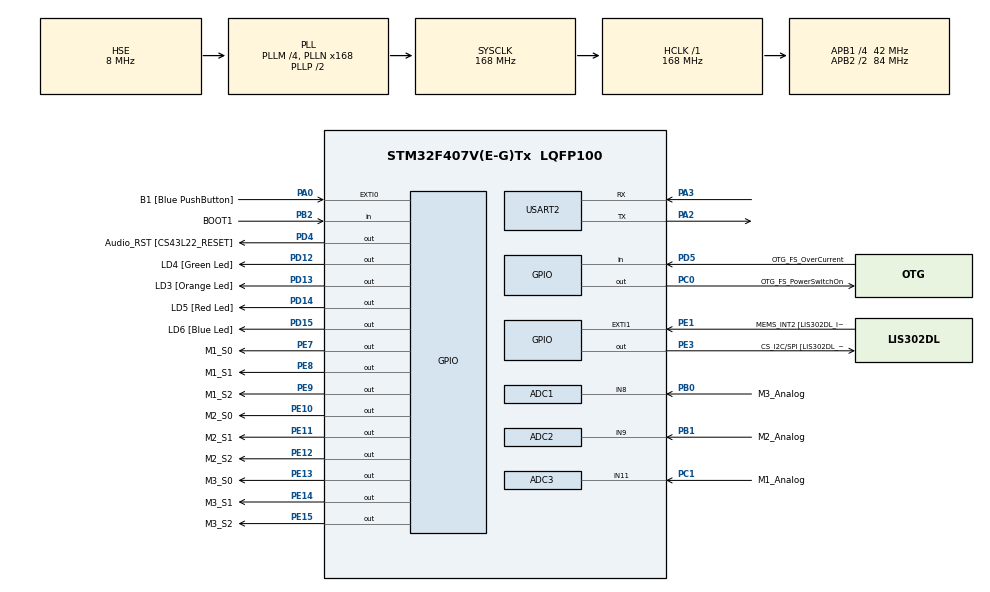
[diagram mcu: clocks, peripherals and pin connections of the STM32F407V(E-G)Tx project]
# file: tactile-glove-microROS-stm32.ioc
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ADC1.Channel-0\#ChannelRegularConversion=ADC_CHANNEL_8
ADC1.NbrOfConversionFlag=1
ADC1.Rank-0\#ChannelRegularConversion=1
ADC1.SamplingTime-0\#ChannelRegularConversion=ADC_SAMPLETIME_3CYCLES
ADC1.master=1
ADC2.Channel-0\#ChannelRegularConversion=ADC_CHANNEL_9
ADC2.NbrOfConversionFlag=1
ADC2.Rank-0\#ChannelRegularConversion=1
ADC2.SamplingTime-0\#ChannelRegularConversion=ADC_SAMPLETIME_3CYCLES
ADC3.Channel-0\#ChannelRegularConversion=ADC_CHANNEL_11
ADC3.NbrOfConversionFlag=1
ADC3.Rank-0\#ChannelRegularConversion=1
ADC3.SamplingTime-0\#ChannelRegularConversion=ADC_SAMPLETIME_3CYCLES
Dma.Request0=USART2_RX
Dma.Request1=USART2_TX
Dma.USART2_RX.0.Direction=DMA_PERIPH_TO_MEMORY
Dma.USART2_RX.0.FIFOMode=DMA_FIFOMODE_DISABLE
Dma.USART2_RX.0.Instance=DMA1_Stream5
Dma.USART2_RX.0.MemDataAlignment=DMA_MDATAALIGN_BYTE
Dma.USART2_RX.0.MemInc=DMA_MINC_ENABLE
Dma.USART2_RX.0.Mode=DMA_CIRCULAR
Dma.USART2_RX.0.PeriphDataAlignment=DMA_PDATAALIGN_BYTE
Dma.USART2_RX.0.PeriphInc=DMA_PINC_DISABLE
Dma.USART2_RX.0.Priority=DMA_PRIORITY_VERY_HIGH
Dma.USART2_TX.1.Direction=DMA_MEMORY_TO_PERIPH
Dma.USART2_TX.1.FIFOMode=DMA_FIFOMODE_DISABLE
Dma.USART2_TX.1.Instance=DMA1_Stream6
Dma.USART2_TX.1.MemDataAlignment=DMA_MDATAALIGN_BYTE
Dma.USART2_TX.1.MemInc=DMA_MINC_ENABLE
Dma.USART2_TX.1.Mode=DMA_NORMAL
Dma.USART2_TX.1.PeriphDataAlignment=DMA_PDATAALIGN_BYTE
Dma.USART2_TX.1.PeriphInc=DMA_PINC_DISABLE
Dma.USART2_TX.1.Priority=DMA_PRIORITY_VERY_HIGH
FREERTOS.Tasks01=defaultTask,24,3500,StartDefaultTask,Default,NULL,Dynamic,NULL,NULL
Mcu.Family=STM32F4
Mcu.Name=STM32F407V(E-G)Tx
Mcu.Package=LQFP100
NVIC.DMA1_Stream5_IRQn=true\:5\:0\:false\:false\:true\:true\:false\:true\:true
NVIC.DMA1_Stream6_IRQn=true\:5\:0\:false\:false\:true\:true\:false\:true\:true
NVIC.PriorityGroup=NVIC_PRIORITYGROUP_4
NVIC.TIM1_UP_TIM10_IRQn=true\:15\:0\:false\:false\:true\:false\:false\:true\:true
NVIC.TimeBase=TIM1_UP_TIM10_IRQn
NVIC.TimeBaseIP=TIM1
NVIC.USART2_IRQn=true\:5\:0\:false\:false\:true\:true\:true\:true\:true
PA0-WKUP.GPIO_Label=B1 [Blue PushButton]
PA0-WKUP.Signal=GPXTI0
PA10.GPIO_Label=OTG_FS_ID
PA10.GPIO_Mode=GPIO_MODE_AF_PP
PA10.GPIO_PuPd=GPIO_NOPULL
PA10.GPIO_Speed=GPIO_SPEED_FREQ_LOW
PA10.Signal=USB_OTG_FS_ID
PA11.GPIO_Label=OTG_FS_DM
PA11.GPIO_Mode=GPIO_MODE_AF_PP
PA11.GPIO_PuPd=GPIO_NOPULL
PA11.GPIO_Speed=GPIO_SPEED_FREQ_LOW
PA11.Signal=USB_OTG_FS_DM
PA12.GPIO_Label=OTG_FS_DP
PA12.GPIO_Mode=GPIO_MODE_AF_PP
PA12.GPIO_PuPd=GPIO_NOPULL
PA12.GPIO_Speed=GPIO_SPEED_FREQ_LOW
PA12.Signal=USB_OTG_FS_DP
PA13.GPIO_Label=SWDIO
PA13.Signal=SYS_JTMS-SWDIO
PA14.GPIO_Label=SWCLK
PA14.Signal=SYS_JTCK-SWCLK
PA2.Mode=Asynchronous
PA2.Signal=USART2_TX
PA3.Mode=Asynchronous
PA3.Signal=USART2_RX
PA4.GPIO_Label=I2S3_WS [CS43L22_LRCK]
PA4.GPIO_Mode=GPIO_MODE_AF_PP
PA4.GPIO_PuPd=GPIO_NOPULL
PA4.GPIO_Speed=GPIO_SPEED_FREQ_LOW
PA4.Signal=I2S3_WS
PA5.GPIO_Label=SPI1_SCK [LIS302DL_SCL/SPC]
PA5.GPIO_Mode=GPIO_MODE_AF_PP
PA5.GPIO_PuPd=GPIO_NOPULL
PA5.GPIO_Speed=GPIO_SPEED_FREQ_LOW
PA5.Signal=SPI1_SCK
PA6.GPIO_Label=SPI1_MISO [LIS302DL_SDO]
PA6.GPIO_Mode=GPIO_MODE_AF_PP
PA6.GPIO_PuPd=GPIO_NOPULL
PA6.GPIO_Speed=GPIO_SPEED_FREQ_LOW
PA6.Signal=SPI1_MISO
PA7.GPIO_Label=SPI1_MOSI [LIS302DL_SDA/SDI/SDO]
PA7.GPIO_Mode=GPIO_MODE_AF_PP
PA7.GPIO_PuPd=GPIO_NOPULL
PA7.GPIO_Speed=GPIO_SPEED_FREQ_LOW
PA7.Signal=SPI1_MOSI
PA9.GPIO_Label=VBUS_FS
PA9.GPIO_Mode=GPIO_MODE_INPUT
PA9.GPIO_PuPd=GPIO_NOPULL
PA9.Signal=USB_OTG_FS_VBUS
PB0.GPIO_Label=M3_Analog
PB0.Signal=ADCx_IN8
PB1.GPIO_Label=M2_Analog
PB1.Signal=ADCx_IN9
PB10.GPIO_Label=CLK_IN [MP45DT02_CLK]
PB10.GPIO_Mode=GPIO_MODE_AF_PP
PB10.GPIO_PuPd=GPIO_NOPULL
PB10.GPIO_Speed=GPIO_SPEED_FREQ_LOW
PB10.Signal=I2S2_CK
PB2.GPIO_Label=BOOT1
PB2.GPIO_Mode=GPIO_MODE_INPUT
PB2.GPIO_PuPd=GPIO_NOPULL
PB2.Signal=GPIO_Input
PB3.GPIO_Label=SWO
PB3.Signal=SYS_JTDO-SWO
PB6.GPIO_Label=Audio_SCL [CS43L22_SCL]
PB6.GPIO_Mode=GPIO_MODE_AF_OD
PB6.GPIO_PuPd=GPIO_NOPULL
PB6.GPIO_Speed=GPIO_SPEED_FREQ_LOW
PB6.Signal=I2C1_SCL
PB9.GPIO_Label=Audio_SDA [CS43L22_SDA]
PB9.GPIO_Mode=GPIO_MODE_AF_OD
PB9.GPIO_PuPd=GPIO_NOPULL
PB9.GPIO_Speed=GPIO_SPEED_FREQ_LOW
PB9.Signal=I2C1_SDA
PC0.GPIO_Label=OTG_FS_PowerSwitchOn
PC0.GPIO_PuPd=GPIO_NOPULL
PC0.GPIO_Speed=GPIO_SPEED_FREQ_LOW
PC0.PinState=GPIO_PIN_SET
PC0.Signal=GPIO_Output
PC1.GPIO_Label=M1_Analog
PC1.Signal=ADCx_IN11
PC10.GPIO_Label=I2S3_SCK [CS43L22_SCLK]
PC10.GPIO_Mode=GPIO_MODE_AF_PP
PC10.GPIO_PuPd=GPIO_NOPULL
PC10.GPIO_Speed=GPIO_SPEED_FREQ_LOW
PC10.Signal=I2S3_CK
PC12.GPIO_Label=I2S3_SD [CS43L22_SDIN]
PC12.GPIO_Mode=GPIO_MODE_AF_PP
PC12.GPIO_PuPd=GPIO_NOPULL
PC12.GPIO_Speed=GPIO_SPEED_FREQ_LOW
PC12.Signal=I2S3_SD
PC14-OSC32_IN.GPIO_Label=PC14-OSC32_IN
PC14-OSC32_IN.Signal=RCC_OSC32_IN
PC15-OSC32_OUT.GPIO_Label=PC15-OSC32_OUT
PC15-OSC32_OUT.Signal=RCC_OSC32_OUT
PC3.GPIO_Label=PDM_OUT [MP45DT02_DOUT]
PC3.GPIO_Mode=GPIO_MODE_AF_PP
PC3.GPIO_PuPd=GPIO_NOPULL
PC3.GPIO_Speed=GPIO_SPEED_FREQ_LOW
PC3.Signal=I2S2_SD
PC7.GPIO_Label=I2S3_MCK [CS43L22_MCLK]
PC7.GPIO_Mode=GPIO_MODE_AF_PP
PC7.GPIO_PuPd=GPIO_NOPULL
PC7.GPIO_Speed=GPIO_SPEED_FREQ_LOW
PC7.Signal=I2S3_MCK
PD12.GPIO_Label=LD4 [Green Led]
PD12.GPIO_PuPd=GPIO_NOPULL
PD12.GPIO_Speed=GPIO_SPEED_FREQ_LOW
PD12.Signal=GPIO_Output
PD13.GPIO_Label=LD3 [Orange Led]
PD13.GPIO_PuPd=GPIO_NOPULL
PD13.GPIO_Speed=GPIO_SPEED_FREQ_LOW
PD13.Signal=GPIO_Output
PD14.GPIO_Label=LD5 [Red Led]
PD14.GPIO_PuPd=GPIO_NOPULL
PD14.GPIO_Speed=GPIO_SPEED_FREQ_LOW
PD14.Signal=GPIO_Output
PD15.GPIO_Label=LD6 [Blue Led]
PD15.GPIO_PuPd=GPIO_NOPULL
PD15.GPIO_Speed=GPIO_SPEED_FREQ_LOW
PD15.Signal=GPIO_Output
PD4.GPIO_Label=Audio_RST [CS43L22_RESET]
PD4.GPIO_PuPd=GPIO_NOPULL
PD4.GPIO_Speed=GPIO_SPEED_FREQ_LOW
PD4.Signal=GPIO_Output
PD5.GPIO_Label=OTG_FS_OverCurrent
PD5.GPIO_Mode=GPIO_MODE_INPUT
PD5.GPIO_PuPd=GPIO_NOPULL
PD5.Signal=GPIO_Input
PE1.GPIO_Label=MEMS_INT2 [LIS302DL_INT2]
PE1.GPIO_ModeDefaultEXTI=GPIO_MODE_EVT_RISING
PE1.GPIO_PuPd=GPIO_NOPULL
PE1.Signal=GPXTI1
PE10.GPIO_Label=M2_S0
PE10.Signal=GPIO_Output
PE11.GPIO_Label=M2_S1
PE11.Signal=GPIO_Output
PE12.GPIO_Label=M2_S2
PE12.Signal=GPIO_Output
PE13.GPIO_Label=M3_S0
PE13.Signal=GPIO_Output
PE14.GPIO_Label=M3_S1
PE14.Signal=GPIO_Output
PE15.GPIO_Label=M3_S2
PE15.Signal=GPIO_Output
PE3.GPIO_Label=CS_I2C/SPI [LIS302DL_CS_I2C/SPI]
PE3.GPIO_PuPd=GPIO_NOPULL
PE3.GPIO_Speed=GPIO_SPEED_FREQ_LOW
PE3.Signal=GPIO_Output
PE7.GPIO_Label=M1_S0
PE7.Signal=GPIO_Output
PE8.GPIO_Label=M1_S1
PE8.Signal=GPIO_Output
PE9.GPIO_Label=M1_S2
PE9.Signal=GPIO_Output
PH0-OSC_IN.GPIO_Label=PH0-OSC_IN
PH0-OSC_IN.Mode=HSE-External-Oscillator
PH0-OSC_IN.Signal=RCC_OSC_IN
PH1-OSC_OUT.GPIO_Label=PH1-OSC_OUT
PH1-OSC_OUT.Mode=HSE-External-Oscillator
PH1-OSC_OUT.Signal=RCC_OSC_OUT
ProjectManager.HeapSize=0x200
ProjectManager.StackSize=0x400
ProjectManager.TargetToolchain=Makefile
RCC.48MHZClocksFreq_Value=48000000
RCC.AHBFreq_Value=168000000
RCC.APB1CLKDivider=RCC_HCLK_DIV4
RCC.APB1Freq_Value=42000000
RCC.APB1TimFreq_Value=84000000
RCC.APB2CLKDivider=RCC_HCLK_DIV2
RCC.APB2Freq_Value=84000000
RCC.APB2TimFreq_Value=168000000
RCC.CortexFreq_Value=168000000
RCC.HCLKFreq_Value=168000000
RCC.HSE_VALUE=8000000
RCC.HSI_VALUE=16000000
RCC.LSE_VALUE=32768
RCC.PLLM=4
RCC.PLLN=168
RCC.PLLQ=7
RCC.PLLSourceVirtual=RCC_PLLSOURCE_HSE
RCC.SYSCLKFreq_VALUE=168000000
RCC.SYSCLKSource=RCC_SYSCLKSOURCE_PLLCLK
RCC.VCOOutputFreq_Value=336000000
SH.ADCx_IN11.0=ADC3_IN11,IN11
SH.ADCx_IN8.0=ADC1_IN8,IN8
SH.ADCx_IN9.0=ADC2_IN9,IN9
USART2.VirtualMode=VM_ASYNC
VP_FREERTOS_VS_CMSIS_V2.Mode=CMSIS_V2
VP_SYS_VS_tim1.Mode=TIM1
board=STM32F407G-DISC1

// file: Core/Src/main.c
/* USER CODE BEGIN Header */
/**
  ******************************************************************************
  * @file           : main.c
  * @brief          : Main program body
  ******************************************************************************
  * @attention
  *
  * Copyright (c) 2024 STMicroelectronics.
  * All rights reserved.
  *
  * This software is licensed under terms that can be found in the LICENSE file
  * in the root directory of this software component.
  * If no LICENSE file comes with this software, it is provided AS-IS.
  *
  ******************************************************************************
  */
/* USER CODE END Header */
#include "main.h"
#include "cmsis_os.h"
#include "adc.h"
#include "dma.h"
#include "usart.h"
#include "gpio.h"

void SystemClock_Config(void);
void MX_FREERTOS_Init(void);

int main(void)
{

  /* MCU Configuration--------------------------------------------------------*/

  /* Reset of all peripherals, Initializes the Flash interface and the Systick. */
  HAL_Init();

  /* Configure the system clock */
  SystemClock_Config();

  /* Initialize all configured peripherals */
  MX_GPIO_Init();
  MX_DMA_Init();
  MX_USART2_UART_Init();
  MX_ADC1_Init();
  MX_ADC2_Init();
  MX_ADC3_Init();

  /* Init scheduler */
  osKernelInitialize();  /* Call init function for freertos objects (in freertos.c) */
  MX_FREERTOS_Init();

  /* Start scheduler */
  osKernelStart();

  /* We should never get here as control is now taken by the scheduler */
  /* Infinite loop */
  while (1)
  {

  }
}

void SystemClock_Config(void)
{
  RCC_OscInitTypeDef RCC_OscInitStruct = {0};
  RCC_ClkInitTypeDef RCC_ClkInitStruct = {0};

  /** Configure the main internal regulator output voltage
  */
  __HAL_RCC_PWR_CLK_ENABLE();
  __HAL_PWR_VOLTAGESCALING_CONFIG(PWR_REGULATOR_VOLTAGE_SCALE1);

  /** Initializes the RCC Oscillators according to the specified parameters
  * in the RCC_OscInitTypeDef structure.
  */
  RCC_OscInitStruct.OscillatorType = RCC_OSCILLATORTYPE_HSE;
  RCC_OscInitStruct.HSEState = RCC_HSE_ON;
  RCC_OscInitStruct.PLL.PLLState = RCC_PLL_ON;
  RCC_OscInitStruct.PLL.PLLSource = RCC_PLLSOURCE_HSE;
  RCC_OscInitStruct.PLL.PLLM = 4;
  RCC_OscInitStruct.PLL.PLLN = 168;
  RCC_OscInitStruct.PLL.PLLP = RCC_PLLP_DIV2;
  RCC_OscInitStruct.PLL.PLLQ = 7;
  if (HAL_RCC_OscConfig(&RCC_OscInitStruct) != HAL_OK)
  {
    Error_Handler();
  }

  /** Initializes the CPU, AHB and APB buses clocks
  */
  RCC_ClkInitStruct.ClockType = RCC_CLOCKTYPE_HCLK|RCC_CLOCKTYPE_SYSCLK
                              |RCC_CLOCKTYPE_PCLK1|RCC_CLOCKTYPE_PCLK2;
  RCC_ClkInitStruct.SYSCLKSource = RCC_SYSCLKSOURCE_PLLCLK;
  RCC_ClkInitStruct.AHBCLKDivider = RCC_SYSCLK_DIV1;
  RCC_ClkInitStruct.APB1CLKDivider = RCC_HCLK_DIV4;
  RCC_ClkInitStruct.APB2CLKDivider = RCC_HCLK_DIV2;

  if (HAL_RCC_ClockConfig(&RCC_ClkInitStruct, FLASH_LATENCY_5) != HAL_OK)
  {
    Error_Handler();
  }
}

void HAL_TIM_PeriodElapsedCallback(TIM_HandleTypeDef *htim)
{
  if (htim->Instance == TIM1) {
    HAL_IncTick();
  }
}

void Error_Handler(void)
{
  __disable_irq();
  while (1)
  {
  }
}

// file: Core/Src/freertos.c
/* USER CODE BEGIN Header */
/**
  ******************************************************************************
  * File Name          : freertos.c
  * Description        : Code for freertos applications
  ******************************************************************************
  * @attention
  *
  * Copyright (c) 2024 STMicroelectronics.
  * All rights reserved.
  *
  * This software is licensed under terms that can be found in the LICENSE file
  * in the root directory of this software component.
  * If no LICENSE file comes with this software, it is provided AS-IS.
  *
  ******************************************************************************
  */
/* USER CODE END Header */

#include "FreeRTOS.h"
#include "task.h"
#include "main.h"
#include "cmsis_os.h"

/* USER CODE BEGIN Includes */
#include "adc.h"
#include "dma.h"
#include "usart.h"
#include "gpio.h"
#include <math.h>

#include <rcl/rcl.h>
#include <rcl/error_handling.h>
#include <rclc/rclc.h>
#include <rclc/executor.h>
#include <uxr/client/transport.h>
#include <rmw_microxrcedds_c/config.h>
#include <rmw_microros/rmw_microros.h>

#include <std_msgs/msg/float64_multi_array.h>
#include <std_msgs/msg/multi_array_dimension.h>
/* USER CODE END Includes */

/* USER CODE BEGIN PD */

#define SELECT_PINS_PORT GPIOE
#define MUX1 0
#define MUX2 1
#define MUX3 2
#define NUMBER_OF_MULTIPLEXERS 3
#define NUMBER_OF_SENSORS 19
/* USER CODE END PD */

/* USER CODE BEGIN Variables */

const int MUX_SELECT_PINS[NUMBER_OF_MULTIPLEXERS][3] = {{M1_S0_Pin, M1_S1_Pin, M1_S2_Pin}, {M2_S0_Pin, M2_S1_Pin, M2_S2_Pin}, {M3_S0_Pin, M3_S1_Pin, M3_S2_Pin}};  // S0-S2 pins
const int MULTIPLEXER_SENSORS[NUMBER_OF_MULTIPLEXERS] = {6, 6 ,7};  // Number of sensors connected to each multiplexer
const int MAX_RESOLUTION_VALUE = 4095;  // 12-bit ADC resolution
const int RESISTOR_47 = 4700;  // 4.7 kOhm resistor for smaller sensors
const int RESISTOR_22 = 2200;  // 2.2 kOhm resistor for bigger sensors
const double VOLT_IN = 2.95;  // STM32 supply voltage

// Linearization of resitance functions
const double A_BIG_RES = 2.5610009396757896;
const double B_BIG_RES = 1.022786463208377;

const double A_SMALL_RES = 0.13601158321717574;
const double B_SMALL_RES = 1.7434005445070226;

std_msgs__msg__Float64MultiArray msg;  //  Message sent via micro-ROS

double voltageAOC = 0.0;
double current = 0.0;
double sensorResistance = 0.0;
double conductance = 0.0;

/* USER CODE END Variables */
/* Definitions for defaultTask */
osThreadId_t defaultTaskHandle;
const osThreadAttr_t defaultTask_attributes = {
  .name = "defaultTask",
  .stack_size = 3500 * 4,
  .priority = (osPriority_t) osPriorityNormal,
};

/* USER CODE BEGIN FunctionPrototypes */
bool cubemx_transport_open(struct uxrCustomTransport * transport);
bool cubemx_transport_close(struct uxrCustomTransport * transport);
size_t cubemx_transport_write(struct uxrCustomTransport* transport, const uint8_t * buf, size_t len, uint8_t * err);
size_t cubemx_transport_read(struct uxrCustomTransport* transport, uint8_t* buf, size_t len, int timeout, uint8_t* err);

void * microros_allocate(size_t size, void * state);
void microros_deallocate(void * pointer, void * state);
void * microros_reallocate(void * pointer, size_t size, void * state);
void * microros_zero_allocate(size_t number_of_elements, size_t size_of_element, void * state);

void switchMuxPin(int mux, int pin)
{
	switch (pin){
	case 0:
		HAL_GPIO_WritePin(SELECT_PINS_PORT, MUX_SELECT_PINS[mux][0], GPIO_PIN_RESET);
		HAL_GPIO_WritePin(SELECT_PINS_PORT, MUX_SELECT_PINS[mux][1], GPIO_PIN_RESET);
		HAL_GPIO_WritePin(SELECT_PINS_PORT, MUX_SELECT_PINS[mux][2], GPIO_PIN_RESET);
		break;
	case 1:
		HAL_GPIO_WritePin(SELECT_PINS_PORT, MUX_SELECT_PINS[mux][0], GPIO_PIN_SET);
		HAL_GPIO_WritePin(SELECT_PINS_PORT, MUX_SELECT_PINS[mux][1], GPIO_PIN_RESET);
		HAL_GPIO_WritePin(SELECT_PINS_PORT, MUX_SELECT_PINS[mux][2], GPIO_PIN_RESET);
		break;
	case 2:
		HAL_GPIO_WritePin(SELECT_PINS_PORT, MUX_SELECT_PINS[mux][0], GPIO_PIN_RESET);
		HAL_GPIO_WritePin(SELECT_PINS_PORT, MUX_SELECT_PINS[mux][1], GPIO_PIN_SET);
		HAL_GPIO_WritePin(SELECT_PINS_PORT, MUX_SELECT_PINS[mux][2], GPIO_PIN_RESET);
		break;
	case 3:
		HAL_GPIO_WritePin(SELECT_PINS_PORT, MUX_SELECT_PINS[mux][0], GPIO_PIN_SET);
		HAL_GPIO_WritePin(SELECT_PINS_PORT, MUX_SELECT_PINS[mux][1], GPIO_PIN_SET);
		HAL_GPIO_WritePin(SELECT_PINS_PORT, MUX_SELECT_PINS[mux][2], GPIO_PIN_RESET);
		break;
	case 4:
		HAL_GPIO_WritePin(SELECT_PINS_PORT, MUX_SELECT_PINS[mux][0], GPIO_PIN_RESET);
		HAL_GPIO_WritePin(SELECT_PINS_PORT, MUX_SELECT_PINS[mux][1], GPIO_PIN_RESET);
		HAL_GPIO_WritePin(SELECT_PINS_PORT, MUX_SELECT_PINS[mux][2], GPIO_PIN_SET);
		break;
	case 5:
		HAL_GPIO_WritePin(SELECT_PINS_PORT, MUX_SELECT_PINS[mux][0], GPIO_PIN_SET);
		HAL_GPIO_WritePin(SELECT_PINS_PORT, MUX_SELECT_PINS[mux][1], GPIO_PIN_RESET);
		HAL_GPIO_WritePin(SELECT_PINS_PORT, MUX_SELECT_PINS[mux][2], GPIO_PIN_SET);
		break;
	case 6:
		HAL_GPIO_WritePin(SELECT_PINS_PORT, MUX_SELECT_PINS[mux][0], GPIO_PIN_RESET);
		HAL_GPIO_WritePin(SELECT_PINS_PORT, MUX_SELECT_PINS[mux][1], GPIO_PIN_SET);
		HAL_GPIO_WritePin(SELECT_PINS_PORT, MUX_SELECT_PINS[mux][2], GPIO_PIN_SET);
		break;
	case 7:
		HAL_GPIO_WritePin(SELECT_PINS_PORT, MUX_SELECT_PINS[mux][0], GPIO_PIN_SET);
		HAL_GPIO_WritePin(SELECT_PINS_PORT, MUX_SELECT_PINS[mux][1], GPIO_PIN_SET);
		HAL_GPIO_WritePin(SELECT_PINS_PORT, MUX_SELECT_PINS[mux][2], GPIO_PIN_SET);
		break;
	}

}

uint16_t readM1Analog()
{
	uint16_t analogRead = 0;

	HAL_ADC_Start(&hadc3);

	if(HAL_ADC_PollForConversion(&hadc3, 10) == HAL_OK)
	  {
	  analogRead = HAL_ADC_GetValue(&hadc3);
	  }

	HAL_ADC_Stop(&hadc3);

	return analogRead;
}

uint16_t readM2Analog()
{
	uint16_t analogRead = 0;

	HAL_ADC_Start(&hadc2);

	if(HAL_ADC_PollForConversion(&hadc2, 10) == HAL_OK)
	  {
		analogRead = HAL_ADC_GetValue(&hadc2);
	  }

	HAL_ADC_Stop(&hadc2);

	return analogRead;
}

uint16_t readM3Analog()
{
	uint16_t analogRead = 0;

	HAL_ADC_Start(&hadc1);

	if(HAL_ADC_PollForConversion(&hadc1, 10) == HAL_OK)
	  {
		analogRead = HAL_ADC_GetValue(&hadc1);
	  }

	HAL_ADC_Stop(&hadc1);

	return analogRead;
}

double calculateForce(uint16_t _analogRead, int _resistor)
{
//  convert analogRead to Volt
	voltageAOC = (double)_analogRead * (VOLT_IN / MAX_RESOLUTION_VALUE);  // 500mV max value
	current = voltageAOC / _resistor;
	sensorResistance = (VOLT_IN / current) - _resistor;
	conductance = 1000000 / sensorResistance;

	if (_resistor == RESISTOR_22) return ((A_BIG_RES * pow(conductance, B_BIG_RES)) / 1000) * 9.81;
	else return ((A_SMALL_RES * pow(conductance, B_SMALL_RES)) / 1000) * 9.81;
}

void readMultiplexerInput(int mux)
{
	for (int pin = 0; pin < MULTIPLEXER_SENSORS[mux]; pin++) // Starting from 1 because of the circuit board layout
	{
      switchMuxPin(mux, pin+1); // Y1 is the first pin used on the multiplexer
	  switch(mux)
	  {  // Read ADC pin corresponding to the given multiplexer
	  case MUX1:
		  msg.data.data[pin] = calculateForce(readM1Analog(), RESISTOR_47); break;
	  case MUX2:
		  msg.data.data[pin + MUX2 * MULTIPLEXER_SENSORS[MUX1]] = calculateForce(readM2Analog(), RESISTOR_47); break;
	  case MUX3:
		  msg.data.data[pin + MUX3 * MULTIPLEXER_SENSORS[MUX2]] = calculateForce(readM3Analog(), RESISTOR_22); break;
	  }
	}
}

void readGloveSignals()
{
	// Iterate through all multiplexers
	for (int selected_mux = MUX1; selected_mux < NUMBER_OF_MULTIPLEXERS; selected_mux++)
	{
		readMultiplexerInput(selected_mux);
	}
}

/* USER CODE END FunctionPrototypes */

void StartDefaultTask(void *argument);

void MX_FREERTOS_Init(void); /* (MISRA C 2004 rule 8.1) */

void MX_FREERTOS_Init(void) {

  /* Create the thread(s) */
  /* creation of defaultTask */
  defaultTaskHandle = osThreadNew(StartDefaultTask, NULL, &defaultTask_attributes);

}

void StartDefaultTask(void *argument)
{
  /* USER CODE BEGIN 5 */

  // micro-ROS configuration

  rmw_uros_set_custom_transport(
    true,
    (void *) &huart2,
    cubemx_transport_open,
    cubemx_transport_close,
    cubemx_transport_write,
    cubemx_transport_read);

  rcl_allocator_t freeRTOS_allocator = rcutils_get_zero_initialized_allocator();
  freeRTOS_allocator.allocate = microros_allocate;
  freeRTOS_allocator.deallocate = microros_deallocate;
  freeRTOS_allocator.reallocate = microros_reallocate;
  freeRTOS_allocator.zero_allocate =  microros_zero_allocate;

  if (!rcutils_set_default_allocator(&freeRTOS_allocator)) {
      printf("Error on default allocators (line %d)\n", __LINE__);
  }

  // create init_options
  rcl_allocator_t allocator;
  allocator = rcl_get_default_allocator();
  rclc_support_t support;
  rclc_support_init(&support, 0, NULL, &allocator);

  // create node
  rcl_node_t node;
  rclc_node_init_default(&node, "microros_node", "", &support);

  // create publisher
  rcl_publisher_t publisher;
  rclc_publisher_init_default(
    &publisher,
    &node,
    ROSIDL_GET_MSG_TYPE_SUPPORT(std_msgs, msg, Float64MultiArray),
    "glove_data");

//  create empty buffer for sensor values
  double buffer[NUMBER_OF_SENSORS] = {};
  msg.data.data = buffer;
  msg.data.size = NUMBER_OF_SENSORS;
  msg.data.capacity = NUMBER_OF_SENSORS;

  std_msgs__msg__MultiArrayDimension dim[NUMBER_OF_SENSORS] = {};
  msg.layout.dim.data = dim;
  msg.layout.dim.size = 0;
  msg.layout.dim.capacity = NUMBER_OF_SENSORS;

  for(;;)
  {
    if (rcl_publish(&publisher, &msg, NULL) != RCL_RET_OK)
    {
      printf("Error publishing (line %d)\n", __LINE__);
    }

    readGloveSignals();

    osDelay(50);
  }
  /* USER CODE END 5 */
}
